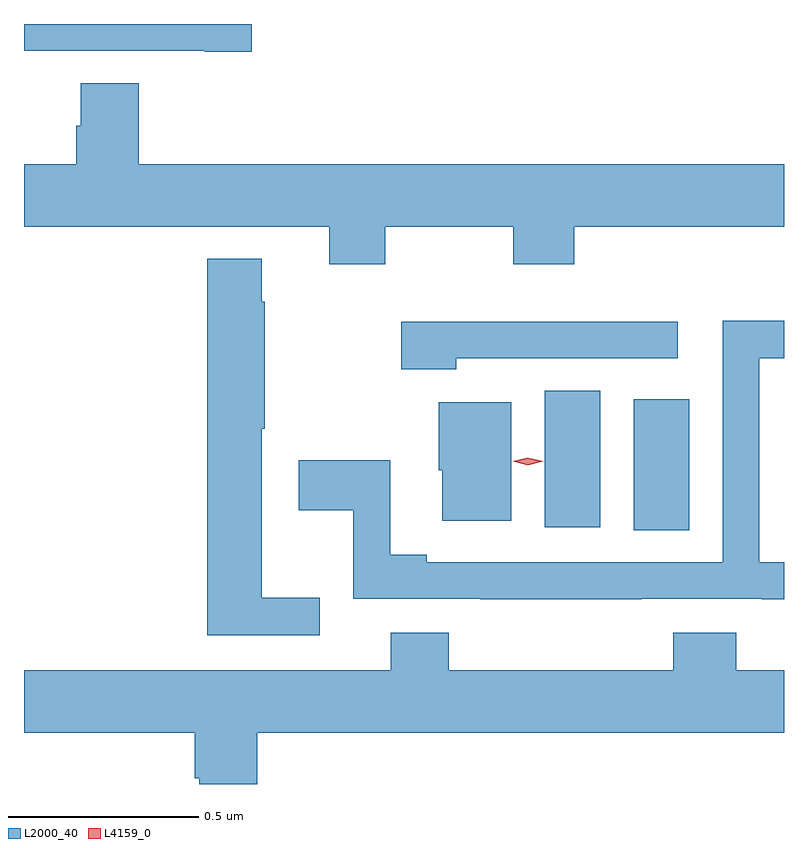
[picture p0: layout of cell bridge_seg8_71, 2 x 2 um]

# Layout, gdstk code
import gdstk
lib = gdstk.Library(unit=1e-6, precision=1e-09)
def R(c, l, rs):  # rectangles x0, y0, x1, y1
    for r in rs: c.add(gdstk.rectangle(r[:2], r[2:], *l))
def P(c, l, *ps):  # polygons
    for p in ps: c.add(gdstk.Polygon(p, *l))
L2000_40 = (2000, 40)
L4159_0 = (4159, 0)

bridge_seg8_71 = lib.new_cell('bridge_seg8_71')
R(bridge_seg8_71, L2000_40, [(915.944,1086.397,916.09,1086.742), (915.71,1086.405,915.856,1086.764)])
P(bridge_seg8_71, L2000_40, [(914.939,1087.729),(914.34,1087.729),(914.34,1087.658),(914.816,1087.658),(914.816,1087.656),(914.939,1087.656)],
  [(915.143,1087.097),(915.291,1087.097),(915.291,1087.196),(915.628,1087.196),(915.628,1087.097),(915.788,1087.097),(915.788,1087.196),(916.34,1087.196),(916.34,1087.36),(914.642,1087.36),(914.642,1087.573),(914.489,1087.573),(914.489,1087.461),(914.477,1087.461),(914.477,1087.36),(914.34,1087.36),(914.34,1087.196),(915.143,1087.196)],
  [(915.118,1086.219),(914.965,1086.219),(914.965,1086.664),(914.973,1086.664),(914.973,1086.998),(914.965,1086.998),(914.965,1087.111),(914.822,1087.111),(914.822,1086.12),(915.118,1086.12)],
  [(915.965,1086.216),(916.282,1086.216),(916.282,1086.215),(916.34,1086.215),(916.34,1086.312),(916.275,1086.312),(916.275,1086.849),(916.34,1086.849),(916.34,1086.948),(916.179,1086.948),(916.179,1086.312),(915.4,1086.312),(915.4,1086.332),(915.304,1086.332),(915.304,1086.581),(915.063,1086.581),(915.063,1086.449),(915.207,1086.449),(915.207,1086.216),(915.541,1086.216),(915.541,1086.215),(915.965,1086.215)],
  [(915.477,1086.849),(916.06,1086.849),(916.06,1086.946),(915.333,1086.946),(915.333,1086.821),(915.477,1086.821)],
  [(915.622,1086.733),(915.431,1086.733),(915.431,1086.555),(915.44,1086.555),(915.44,1086.422),(915.622,1086.422)],
  [(914.954,1085.864),(916.34,1085.864),(916.34,1086.028),(916.214,1086.028),(916.214,1086.127),(916.049,1086.127),(916.049,1086.028),(915.458,1086.028),(915.458,1086.127),(915.305,1086.127),(915.305,1086.028),(914.34,1086.028),(914.34,1085.864),(914.789,1085.864),(914.789,1085.744),(914.801,1085.744),(914.801,1085.729),(914.954,1085.729)])
P(bridge_seg8_71, L4159_0, [(915.666,1086.568),(915.626,1086.578),(915.626,1086.578),(915.626,1086.578),(915.666,1086.588),(915.706,1086.578),(915.707,1086.578),(915.706,1086.578)])

lib.write_gds('bridge_seg8_71.gds')
